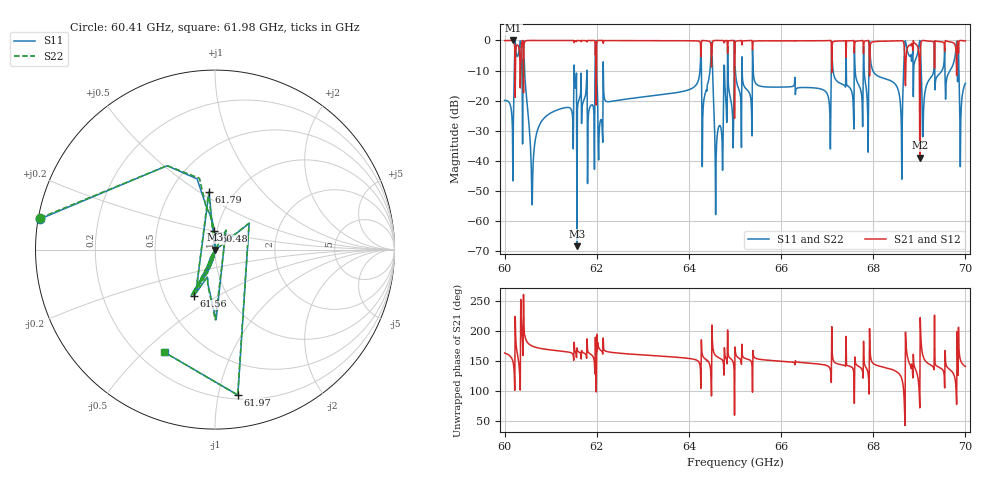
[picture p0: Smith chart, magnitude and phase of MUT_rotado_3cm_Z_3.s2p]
! TOUCHSTONE file generated by CST MICROWAVE STUDIO
! Date and time: Sat Feb 24 20:43:30 2024
! Project name: material_angular.cst
! Parameters = {Z=5; Y=2}
! Header version: 2018
! Port assignment regex: !\s*Touchstone port\s*([0-9]+)\s*=\s*(CST MWS port|CST DS port)\s*([0-9]+|Zmin|Zmax)\s*\(\"(.*)\"\)(\s*mode\s*([0-9]+))?.*
! Touchstone port assignment:
! Touchstone port 1 = CST MWS port 1 ("")
! Touchstone port 2 = CST MWS port 2 ("")
# GHz S MA R 376.7
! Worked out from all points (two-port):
!   1001 points, 60 GHz to 70 GHz, reference 376.7 ohm
!   highest |S21| = 0.00 dB at 60.19 GHz (marker M1); lowest = -39.0 dB at 69.01 GHz (marker M2)
!   |S21| within 3 dB of the highest: 62 GHz to 64.25 GHz (2.256 GHz wide, 3.57 % of centre); 65.38 GHz to 67.09 GHz (1.712 GHz wide, 2.58 % of centre)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
!   lowest |S11| = -68.5 dB at 61.57 GHz (marker M3), VSWR 1.00, Z = 376 + j0.0525 ohm
!   |S11| at or under -10 dB: 60.44 GHz to 61.51 GHz (1.073 GHz wide, 1.76 % of centre); 62.14 GHz to 64.24 GHz (2.097 GHz wide, 3.32 % of centre); 65.4 GHz to 67.09 GHz (1.693 GHz wide, 2.56 % of centre)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
!   |S22| runs from -68.4 to 0.0 dB; largest |S21 - S12| = 0.0056
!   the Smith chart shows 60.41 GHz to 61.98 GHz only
!   S11 on the Smith chart (normalised r, x): 60.41 GHz: 0.00, +0.09; 60.48 GHz: 0.97, +0.20; 61.56 GHz: 0.70, -0.39; 61.79 GHz: 0.77, +0.55; 61.97 GHz: 0.23, -1.14; 61.98 GHz: 0.30, -0.58
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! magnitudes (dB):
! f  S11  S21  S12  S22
! 60 GHz  -20.0  0.0  0.0  -20.0
! 60.19 GHz  -27.6  0.0  0.0  -27.7
! 60.41 GHz  -0.1  -17.4  -17.4  -0.1
! 60.48 GHz  -19.8  0.0  0.0  -19.8
! 60.61 GHz  -45.0  0.0  0.0  -45.0
! 61.56 GHz  -10.9  -0.4  -0.4  -10.9
! 61.57 GHz  -68.5  0.0  0.0  -68.4
! 61.67 GHz  -27.7  0.0  0.0  -27.4
! 61.79 GHz  -9.9  -0.5  -0.5  -9.9
! 61.97 GHz  -1.7  -4.9  -4.9  -1.7
! 61.98 GHz  -3.9  -2.3  -2.3  -3.9
! 62.08 GHz  -26.6  0.0  0.0  -26.6
! 63.34 GHz  -18.2  -0.1  -0.1  -18.2
! 64.47 GHz  -7.6  -0.8  -0.8  -7.6
! 64.61 GHz  -32.3  0.0  0.0  -32.3
! 65 GHz  -7.0  -1.0  -1.0  -7.0
! 66.67 GHz  -15.7  -0.1  -0.1  -15.7
! 68.34 GHz  -13.1  -0.2  -0.2  -13.1
! 68.59 GHz  -21.2  -0.1  -0.1  -21.0
! 69.01 GHz  0.0  -39.0  -39.0  0.0
! 69.1 GHz  -20.8  0.0  0.0  -20.8
! 70 GHz  -14.3  -0.2  -0.2  -14.2
